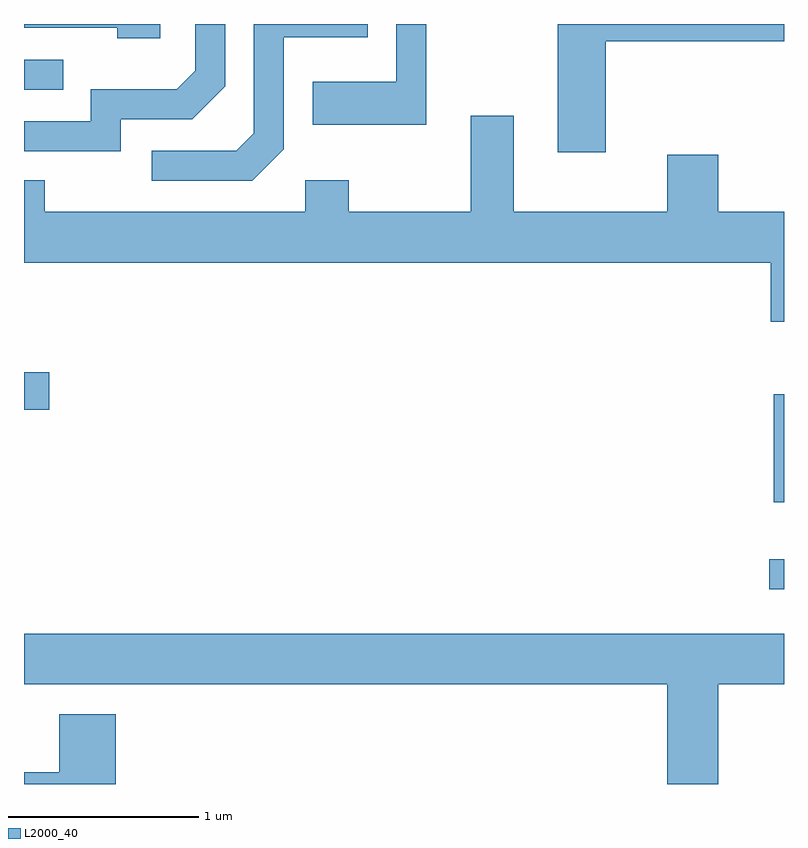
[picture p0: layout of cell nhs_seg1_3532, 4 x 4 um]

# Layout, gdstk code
import gdstk
lib = gdstk.Library(unit=1e-6, precision=1e-09)
def R(c, l, rs):  # rectangles x0, y0, x1, y1
    for r in rs: c.add(gdstk.rectangle(r[:2], r[2:], *l))
def P(c, l, *ps):  # polygons
    for p in ps: c.add(gdstk.Polygon(p, *l))
L2000_40 = (2000, 40)

nhs_seg1_3532 = lib.new_cell('nhs_seg1_3532')
R(nhs_seg1_3532, L2000_40, [(295.533,906.736,295.611,906.894), (295.556,907.196,295.611,907.764), (291.611,907.681,291.744,907.879), (291.611,909.366,291.818,909.524)])
P(nhs_seg1_3532, L2000_40, [(293.729,909.712),(293.571,909.712),(293.571,909.409),(293.131,909.409),(293.131,909.181),(293.729,909.181)],
  [(292.979,909.054),(292.979,909.641),(293.419,909.641),(293.419,909.712),(292.821,909.712),(292.821,909.137),(292.729,909.044),(292.283,909.044),(292.283,908.886),(292.812,908.886)],
  [(292.329,909.712),(291.611,909.712),(291.611,909.691),(292.101,909.691),(292.101,909.636),(292.329,909.636)],
  [(292.119,909.211),(292.497,909.211),(292.669,909.384),(292.669,909.712),(292.511,909.712),(292.511,909.467),(292.414,909.369),(291.961,909.369),(291.961,909.199),(291.611,909.199),(291.611,909.041),(292.119,909.041)],
  [(294.674,909.621),(295.611,909.621),(295.611,909.712),(294.421,909.712),(294.421,909.036),(294.674,909.036)],
  [(295.611,908.724),(295.264,908.724),(295.264,909.024),(294.996,909.024),(294.996,908.724),(294.189,908.724),(294.189,909.229),(293.961,909.229),(293.961,908.724),(293.319,908.724),(293.319,908.889),(293.091,908.889),(293.091,908.724),(291.719,908.724),(291.719,908.889),(291.611,908.889),(291.611,908.456),(295.541,908.456),(295.541,908.146),(295.611,908.146)],
  [(295.264,906.236),(295.611,906.236),(295.611,906.504),(291.611,906.504),(291.611,906.236),(294.996,906.236),(294.996,905.712),(295.264,905.712)],
  [(292.094,906.079),(291.796,906.079),(291.796,905.774),(291.611,905.774),(291.611,905.712),(292.094,905.712)])

lib.write_gds('nhs_seg1_3532.gds')
